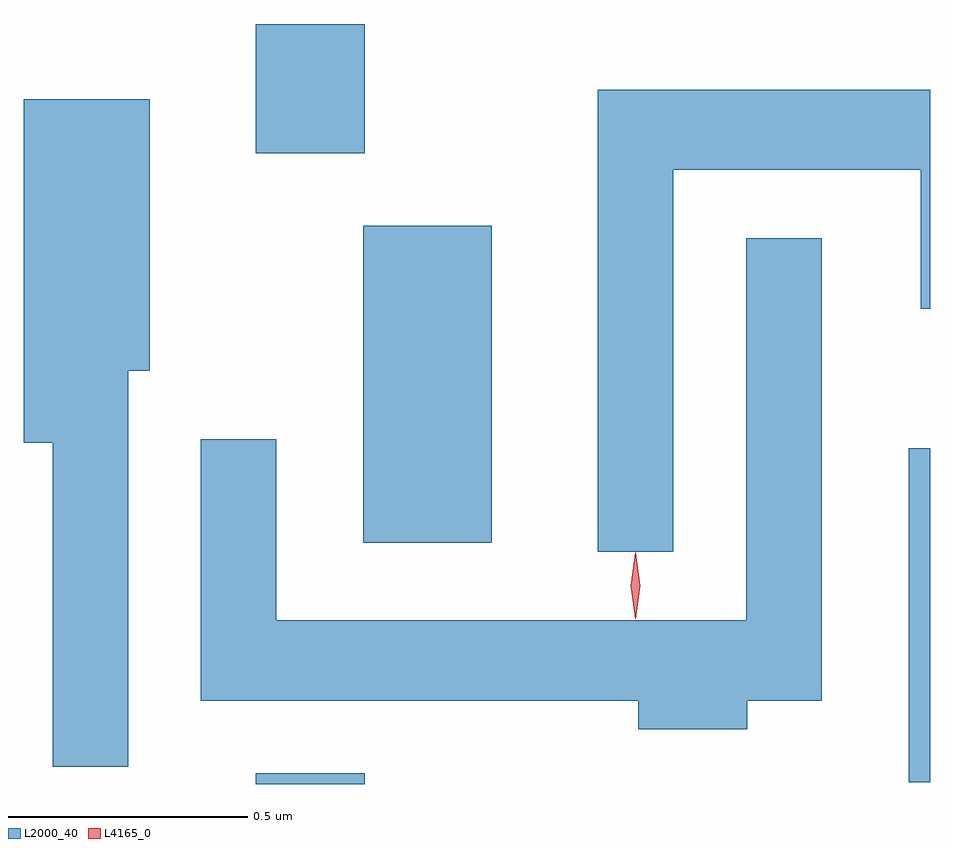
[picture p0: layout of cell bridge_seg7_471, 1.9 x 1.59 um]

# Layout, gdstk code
import gdstk
lib = gdstk.Library(unit=1e-6, precision=1e-09)
def R(c, l, rs):  # rectangles x0, y0, x1, y1
    for r in rs: c.add(gdstk.rectangle(r[:2], r[2:], *l))
def P(c, l, *ps):  # polygons
    for p in ps: c.add(gdstk.Polygon(p, *l))
L2000_40 = (2000, 40)
L4165_0 = (4165, 0)

bridge_seg7_471 = lib.new_cell('bridge_seg7_471')
R(bridge_seg7_471, L2000_40, [(1128.201,1668.252,1128.429,1668.274), (1129.566,1668.256,1129.611,1668.954), (1128.426,1668.756,1128.694,1669.419), (1128.201,1669.571,1128.429,1669.841)])
P(bridge_seg7_471, L2000_40, [(1129.074,1669.536),(1129.591,1669.536),(1129.591,1669.246),(1129.611,1669.246),(1129.611,1669.704),(1128.916,1669.704),(1128.916,1668.738),(1129.074,1668.738)],
  [(1127.934,1669.116),(1127.979,1669.116),(1127.979,1669.684),(1127.716,1669.684),(1127.716,1668.966),(1127.776,1668.966),(1127.776,1668.288),(1127.934,1668.288)],
  [(1129.229,1668.426),(1129.384,1668.426),(1129.384,1669.393),(1129.226,1669.393),(1129.226,1668.594),(1128.244,1668.594),(1128.244,1668.973),(1128.086,1668.973),(1128.086,1668.426),(1129.001,1668.426),(1129.001,1668.366),(1129.229,1668.366)])
P(bridge_seg7_471, L4165_0, [(1128.994,1668.597),(1128.985,1668.666),(1128.994,1668.736),(1128.995,1668.736),(1128.995,1668.736),(1129.005,1668.666),(1128.995,1668.597),(1128.995,1668.597)])

lib.write_gds('bridge_seg7_471.gds')
